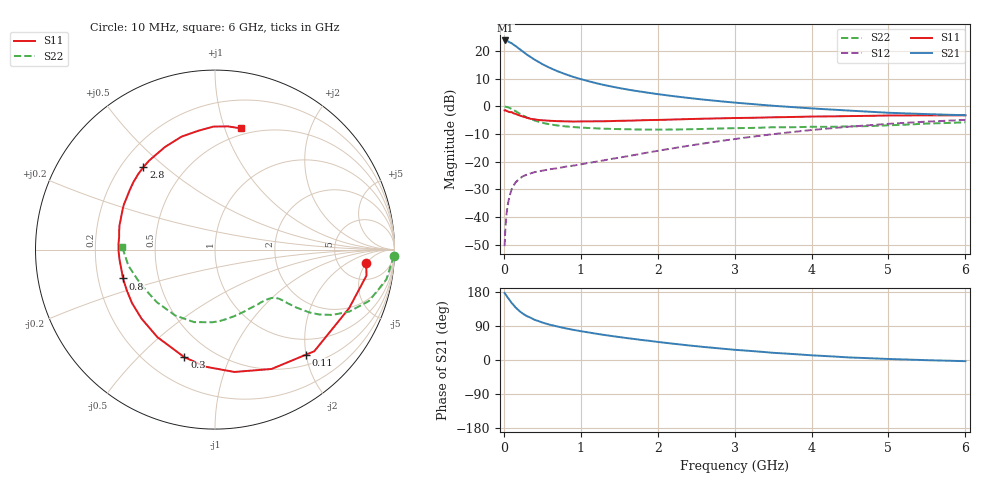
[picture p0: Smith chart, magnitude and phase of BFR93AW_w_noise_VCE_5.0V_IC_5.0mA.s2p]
! (c) 2017  Infineon Technologies AG, Munich
! Infineon Technologies  Discrete & RF Semiconductors
! BFR93AW
! VCE =  5.0 V,  IC =  5.0 mA
! Common Emitter S-Parameters:  Jan 2017
# GHz  S  MA  R  50
!  f  S11  S21  S12  S22
! GHz  MAG  ANG  MAG  ANG  MAG  ANG  MAG  ANG
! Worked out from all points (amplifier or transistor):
!   77 points, 10 MHz to 6 GHz, reference 50 ohm
!   highest |S21| = 23.8 dB at 20 MHz (marker M1)
!   |S21| within 3 dB of that: start of sweep to 199.1 MHz
!   unconditionally stable (mu >= 1): 1.051 GHz to 2.185 GHz
!   at 130 MHz: K = 0.19, MSG = 25.3 dB, |S12| = -28.5 dB
!   at 2.2 GHz: K = 1.00, MSG = 9.4 dB, |S12| = -15.1 dB
!   at 6 GHz: K = 0.89, MSG = 0.8 dB, |S12| = -4.9 dB
!   lowest NFmin = 1.18 dB at 450 MHz
!   S11 on the Smith chart (normalised r, x): 10 MHz: 9, -5; 110 MHz: 0.68, -1.99; 300 MHz: 0.35, -0.69; 800 MHz: 0.31, -0.14; 2.8 GHz: 0.29, +0.42; 6 GHz: 0.44, +1.13
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0.01  0.8458 -5.0  15.4 176.9  0.003 89.3  0.9991 -2.0
0.02  0.8564 -9.7  15.49 174.0  0.0062 89.9  0.9879 -4.1
0.05  0.8154 -23.6  15.02 164.8  0.0165 79.1  0.969 -9.9
0.1  0.7917 -45.7  13.86 150.9  0.0315 67.9  0.9051 -18.4
0.11  0.774 -49.2  13.52 148.8  0.0336 65.9  0.8881 -19.6
0.15  0.7358 -64.7  12.37 139.2  0.0421 59.9  0.8241 -24.8
0.2  0.6902 -81.0  10.94 129.6  0.0492 54.3  0.7484 -29.1
0.25  0.6547 -94.6  9.7 121.8  0.055 50.3  0.6843 -31.9
0.3  0.6232 -105.9  8.597 115.7  0.0588 47.8  0.6303 -33.7
0.4  0.5841 -123.3  6.969 106.0  0.0651 44.8  0.5555 -35.5
0.5  0.5617 -136.8  5.789 98.9  0.0692 43.8  0.5062 -36.4
0.6  0.5501 -147.2  4.948 93.0  0.0734 44.5  0.4738 -36.9
0.8  0.5373 -162.6  3.814 83.7  0.0815 48.2  0.4358 -38.3
0.9  0.533 -168.5  3.417 79.7  0.0852 49.2  0.4242 -39.4
1.1  0.5371 -178.8  2.849 72.8  0.0955 53.2  0.4078 -42.1
1.5  0.5491 165.7  2.145 60.6  0.1189 59.1  0.3888 -49.9
2.1  0.5739 147.7  1.598 45.4  0.1665 63.4  0.3815 -65.6
2.8  0.6085 131.0  1.243 30.6  0.2355 62.7  0.3989 -86.2
3.1  0.619 124.4  1.14 25.5  0.2687 60.7  0.406 -94.8
4.1  0.6575 104.9  0.903 11.3  0.3856 51.0  0.4275 -124.5
5.1  0.6857 89.3  0.759 2.1  0.4934 38.0  0.4609 -157.9
6  0.6903 78.1  0.692 -3.1  0.5714 26.0  0.5171 178.4
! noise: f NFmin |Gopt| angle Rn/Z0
0.45  1.18  0.25  77  0.14
0.9  1.5  0.29  137  0.15
1.9  2.75  0.49  -153  0.19
2.4  3.37  0.57  -135  0.38
